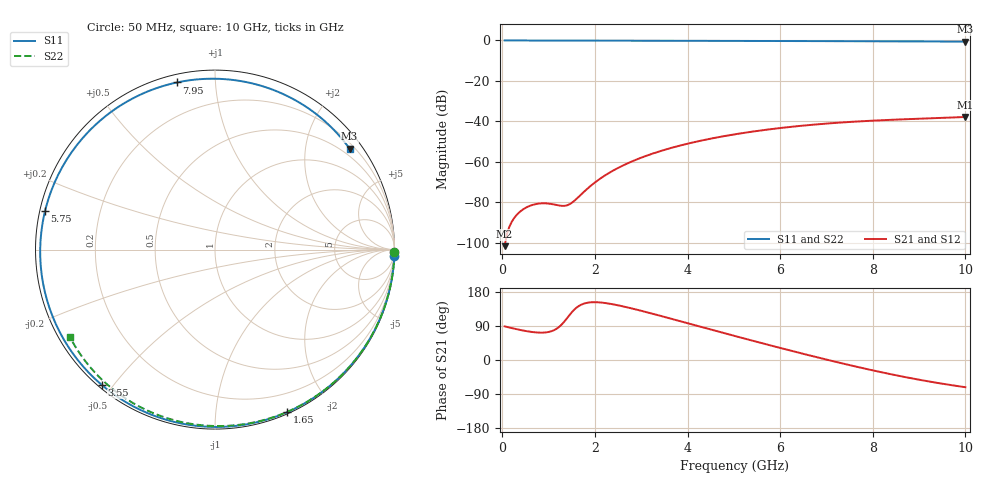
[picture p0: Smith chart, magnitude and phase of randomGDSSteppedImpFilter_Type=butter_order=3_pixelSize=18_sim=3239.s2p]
! freq	dB(S11)	phase(S11)	dB(S12)	phase(S12)
!  dB(S21)	phase(S21)	dB(S22)	phase(S22)
!S-par simulation data
#  GHz  S  DB  R 50
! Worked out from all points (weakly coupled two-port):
!   200 points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, 50 MHz to 10 GHz, reference 50 ohm
!   highest |S21| = -37.84 dB at 10 GHz (marker M1); lowest = -101.7 dB at 50 MHz (marker M2)
!   lowest |S11| = -0.6 dB at 10 GHz (marker M3), VSWR 30.81, Z = 16.1 + j149 ohm
!   |S11| at or under -10 dB: nowhere
!   |S22| runs from -0.5 to 0.0 dB; largest |S21 - S12| = 0
!   S11 on the Smith chart (normalised r, x): 50 MHz: 0, -54; 1.65 GHz: 0.02, -1.54; 3.55 GHz: 0.01, -0.47; 5.75 GHz: 0.01, +0.11; 7.95 GHz: 0.04, +0.80; 10 GHz: 0.32, +2.97
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0.05  -0.00 -2.1  -101.73 88.8  -101.73 88.8  -0.00 -0.9
0.35  -0.02 -14.5  -85.35 80.2  -85.35 80.2  -0.01 -6.0
0.7  -0.04 -28.9  -81.04 73.1  -81.04 73.1  -0.02 -12.0
1.1  -0.06 -44.9  -81.03 77.8  -81.03 77.8  -0.02 -18.8
1.5  -0.07 -60.3  -80.30 125.9  -80.30 125.9  -0.03 -25.5
1.65  -0.08 -66.0  -77.31 142.3  -77.31 142.3  -0.04 -28.0
1.75  -0.08 -69.7  -75.13 148.2  -75.13 148.2  -0.04 -29.6
2.1  -0.10 -82.3  -68.55 152.0  -68.55 152.0  -0.05 -35.4
2.45  -0.11 -94.5  -63.64 145.6  -63.64 145.6  -0.05 -41.1
2.9  -0.12 -109.4  -58.87 132.9  -58.87 132.9  -0.06 -48.4
3.4  -0.14 -125.2  -54.81 117.0  -54.81 117.0  -0.07 -56.3
3.55  -0.15 -129.8  -53.78 112.1  -53.78 112.1  -0.08 -58.7
4.3  -0.18 -151.9  -49.50 87.2  -49.50 87.2  -0.10 -70.2
5.05  -0.22 -173.2  -46.30 62.4  -46.30 62.4  -0.13 -81.3
5.75  -0.26 167.2  -44.00 39.8  -44.00 39.8  -0.15 -91.4
6.2  -0.28 154.5  -42.80 25.6  -42.80 25.6  -0.18 -97.8
6.7  -0.32 140.2  -41.68 10.1  -41.68 10.1  -0.20 -104.7
7.35  -0.36 121.1  -40.52 -9.2  -40.52 -9.2  -0.25 -113.6
7.95  -0.40 102.9  -39.72 -26.0  -39.72 -26.0  -0.29 -121.7
8.35  -0.43 90.4  -39.28 -36.5  -39.28 -36.5  -0.33 -127.0
9.15  -0.48 64.6  -38.57 -55.3  -38.57 -55.3  -0.41 -137.6
10  -0.56 36.9  -37.84 -71.8  -37.84 -71.8  -0.50 -149.0
